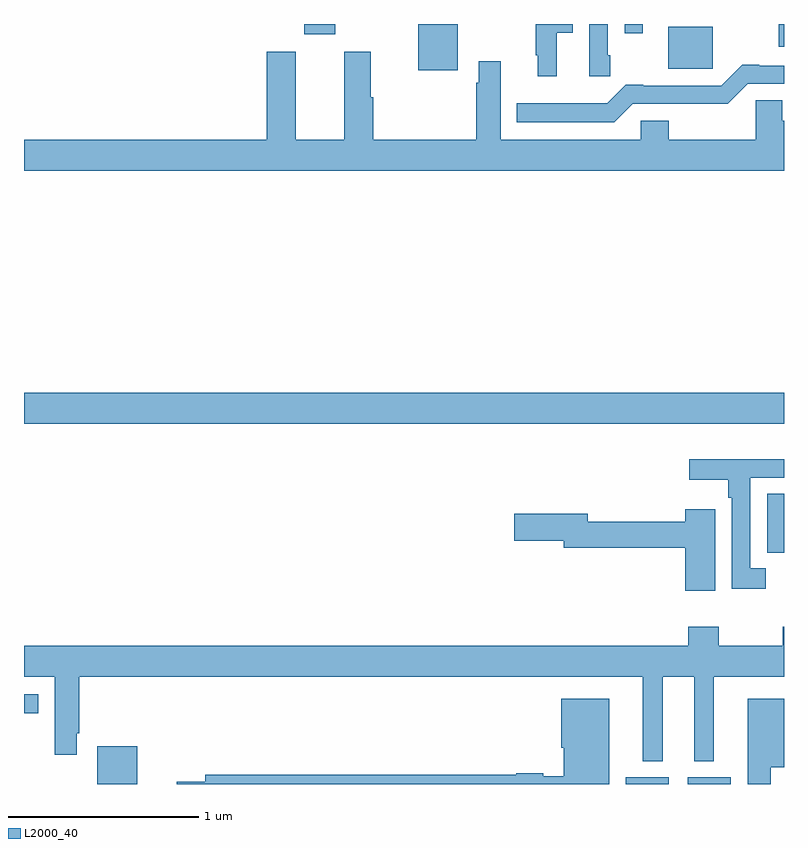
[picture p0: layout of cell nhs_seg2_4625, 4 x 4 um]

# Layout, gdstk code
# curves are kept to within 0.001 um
import gdstk
lib = gdstk.Library(unit=1e-6, precision=1e-09)
def R(c, l, rs):  # rectangles x0, y0, x1, y1
    for r in rs: c.add(gdstk.rectangle(r[:2], r[2:], *l))
def P(c, l, *ps):  # polygons
    for p in ps: c.add(gdstk.Polygon(p, *l))
L2000_40 = (2000, 40)

nhs_seg2_4625 = lib.new_cell('nhs_seg2_4625')
R(nhs_seg2_4625, L2000_40, [(363.386,585.8,363.595,586), (366.167,585.8,366.394,585.835), (366.494,585.8,366.721,585.835), (363,586.172,363.076,586.273), (366.911,587.016,367,587.327), (363,587.696,367,587.86), (365.075,589.556,365.284,589.8), (366.392,589.565,366.625,589.786), (366.972,589.68,367,589.8), (364.475,589.746,364.639,589.8), (366.162,589.752,366.257,589.8)])
P(nhs_seg2_4625, L2000_40, [(365.803,589.753),(365.887,589.753),(365.887,589.8),(365.694,589.8),(365.694,589.636),(365.705,589.636),(365.705,589.524),(365.803,589.524)],
  [(366.085,589.636),(366.072,589.636),(366.072,589.8),(365.976,589.8),(365.976,589.524),(366.085,589.524)],
  [(367,589.29),(366.991,589.29),(366.991,589.4),(366.852,589.4),(366.852,589.192),(366.393,589.192),(366.393,589.29),(366.246,589.29),(366.246,589.192),(365.509,589.192),(365.509,589.603),(365.393,589.603),(365.393,589.49),(365.381,589.49),(365.381,589.192),(364.838,589.192),(364.838,589.415),(364.825,589.415),(364.825,589.654),(364.685,589.654),(364.685,589.192),(364.429,589.192),(364.429,589.654),(364.277,589.654),(364.277,589.192),(363,589.192),(363,589.028),(367,589.028)],
  [(366.204,589.38),(366.704,589.379),(366.81,589.485),(367,589.485),(367,589.581),(366.871,589.581),(366.871,589.586),(366.779,589.586),(366.669,589.476),(366.259,589.476),(366.259,589.481),(366.167,589.481),(366.069,589.383),(365.594,589.384),(365.594,589.283),(366.107,589.283)],
  [(366.904,586.935),(366.822,586.935),(366.822,587.412),(367,587.412),(367,587.508),(366.919,587.508),(366.919,587.51),(366.501,587.51),(366.501,587.402),(366.706,587.402),(366.706,587.306),(366.726,587.306),(366.726,586.827),(366.904,586.827)],
  [(366.637,587.245),(366.479,587.245),(366.479,587.18),(365.968,587.18),(365.968,587.223),(365.58,587.223),(365.58,587.081),(365.84,587.081),(365.84,587.044),(366.479,587.044),(366.479,586.818),(366.637,586.818)],
  [(366.361,586.364),(366.527,586.364),(366.527,585.92),(366.631,585.92),(366.631,586.364),(367,586.364),(367,586.627),(366.994,586.627),(366.994,586.528),(366.657,586.528),(366.657,586.627),(366.497,586.627),(366.497,586.528),(363,586.528),(363,586.364),(363.161,586.364),(363.161,585.954),(363.277,585.954),(363.277,586.066),(363.29,586.066),(363.29,586.364),(366.257,586.364),(366.257,585.92),(366.361,585.92)],
  [(366.079,586.249),(365.828,586.249),(365.828,585.99),(365.84,585.99),(365.84,585.841),(365.732,585.841),(365.732,585.856),(365.592,585.856),(365.592,585.848),(363.953,585.848),(363.953,585.812),(363.804,585.812),(363.804,585.8),(366.079,585.8)],
  [(366.931,585.887),(367,585.887),(367,586.249),(366.809,586.249),(366.809,585.8),(366.931,585.8)])

lib.write_gds('nhs_seg2_4625.gds')
